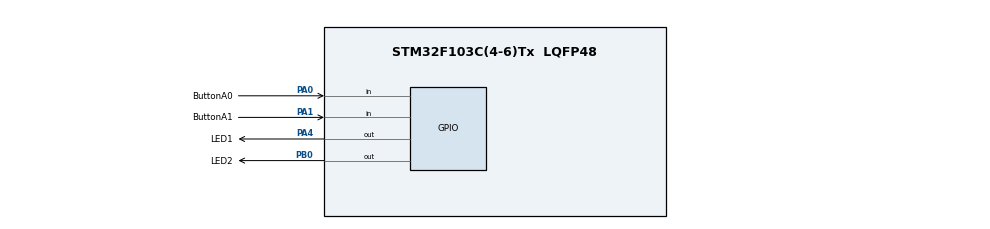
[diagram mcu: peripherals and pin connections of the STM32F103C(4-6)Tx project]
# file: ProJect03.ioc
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Mcu.Family=STM32F1
Mcu.Name=STM32F103C(4-6)Tx
Mcu.Package=LQFP48
NVIC.PriorityGroup=NVIC_PRIORITYGROUP_4
NVIC.TIM2_IRQn=true\:0\:0\:false\:false\:true\:true\:true\:true
PA0-WKUP.GPIO_Label=ButtonA0
PA0-WKUP.GPIO_PuPd=GPIO_PULLUP
PA0-WKUP.Signal=GPIO_Input
PA1.GPIO_Label=ButtonA1
PA1.Signal=GPIO_Input
PA4.GPIO_Label=LED1
PA4.Signal=GPIO_Output
PB0.GPIO_Label=LED2
PB0.Signal=GPIO_Output
ProjectManager.HeapSize=0x200
ProjectManager.StackSize=0x400
ProjectManager.TargetToolchain=STM32CubeIDE
RCC.APB1Freq_Value=8000000
RCC.APB2Freq_Value=8000000
TIM2.Period=9
TIM2.Prescaler=7999
VP_TIM2_VS_ClockSourceINT.Mode=Internal
board=custom

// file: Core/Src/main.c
/* USER CODE BEGIN Header */
/**
  ******************************************************************************
  * @file           : main.c
  * @brief          : Main program body
  ******************************************************************************
  * @attention
  *
  * Copyright (c) 2022 STMicroelectronics.
  * All rights reserved.
  *
  * This software is licensed under terms that can be found in the LICENSE file
  * in the root directory of this software component.
  * If no LICENSE file comes with this software, it is provided AS-IS.
  *
  ******************************************************************************
  */
/* USER CODE END Header */
#include "main.h"

TIM_HandleTypeDef htim2;

void SystemClock_Config(void);
static void MX_GPIO_Init(void);
static void MX_TIM2_Init(void);

/* USER CODE BEGIN 0 */
int timer0_counter = 0;
int timer0_flag = 0;
int TIMER_CYCLE = 10;

void setTimer0 ( int duration ) {
	timer0_counter = duration / TIMER_CYCLE ;
	timer0_flag = 0;
}

void timer_run () {
	if( timer0_counter > 0) {
		timer0_counter --;
		if( timer0_counter == 0) timer0_flag = 1;
	}
}
/* USER CODE END 0 */

int main(void)
{

  /* MCU Configuration--------------------------------------------------------*/

  /* Reset of all peripherals, Initializes the Flash interface and the Systick. */
  HAL_Init();

  /* Configure the system clock */
  SystemClock_Config();

  /* Initialize all configured peripherals */
  MX_GPIO_Init();
  MX_TIM2_Init();
  /* USER CODE BEGIN 2 */
  HAL_TIM_Base_Start_IT (& htim2 ) ;

  /* USER CODE END 2 */

  /* Infinite loop */
  /* USER CODE BEGIN WHILE */
  int state = 0;
  setTimer0(1000);
  while (1)
  {

	  if ( HAL_GPIO_ReadPin(ButtonA0_GPIO_Port, ButtonA0_Pin) == RESET){
		  	  if (state == 0){
		  		HAL_GPIO_WritePin(LED1_GPIO_Port, LED1_Pin, SET);
		  		HAL_GPIO_WritePin(LED2_GPIO_Port, LED2_Pin, RESET);
		  		state = 1-state;
		  	  }
		  	  else{
		  		HAL_GPIO_WritePin(LED1_GPIO_Port, LED1_Pin, RESET);
		  		HAL_GPIO_WritePin(LED2_GPIO_Port, LED2_Pin, RESET);
		  		state = 1-state;
		  	  }
	HAL_Delay(1000);
	  }
    /* USER CODE END WHILE */

  }
}

void SystemClock_Config(void)
{
  RCC_OscInitTypeDef RCC_OscInitStruct = {0};
  RCC_ClkInitTypeDef RCC_ClkInitStruct = {0};

  /** Initializes the RCC Oscillators according to the specified parameters
  * in the RCC_OscInitTypeDef structure.
  */
  RCC_OscInitStruct.OscillatorType = RCC_OSCILLATORTYPE_HSI;
  RCC_OscInitStruct.HSIState = RCC_HSI_ON;
  RCC_OscInitStruct.HSICalibrationValue = RCC_HSICALIBRATION_DEFAULT;
  RCC_OscInitStruct.PLL.PLLState = RCC_PLL_NONE;
  if (HAL_RCC_OscConfig(&RCC_OscInitStruct) != HAL_OK)
  {
    Error_Handler();
  }

  /** Initializes the CPU, AHB and APB buses clocks
  */
  RCC_ClkInitStruct.ClockType = RCC_CLOCKTYPE_HCLK|RCC_CLOCKTYPE_SYSCLK
                              |RCC_CLOCKTYPE_PCLK1|RCC_CLOCKTYPE_PCLK2;
  RCC_ClkInitStruct.SYSCLKSource = RCC_SYSCLKSOURCE_HSI;
  RCC_ClkInitStruct.AHBCLKDivider = RCC_SYSCLK_DIV1;
  RCC_ClkInitStruct.APB1CLKDivider = RCC_HCLK_DIV1;
  RCC_ClkInitStruct.APB2CLKDivider = RCC_HCLK_DIV1;

  if (HAL_RCC_ClockConfig(&RCC_ClkInitStruct, FLASH_LATENCY_0) != HAL_OK)
  {
    Error_Handler();
  }
}

static void MX_TIM2_Init(void)
{

  TIM_ClockConfigTypeDef sClockSourceConfig = {0};
  TIM_MasterConfigTypeDef sMasterConfig = {0};

  htim2.Instance = TIM2;
  htim2.Init.Prescaler = 7999;
  htim2.Init.CounterMode = TIM_COUNTERMODE_UP;
  htim2.Init.Period = 9;
  htim2.Init.ClockDivision = TIM_CLOCKDIVISION_DIV1;
  htim2.Init.AutoReloadPreload = TIM_AUTORELOAD_PRELOAD_DISABLE;
  if (HAL_TIM_Base_Init(&htim2) != HAL_OK)
  {
    Error_Handler();
  }
  sClockSourceConfig.ClockSource = TIM_CLOCKSOURCE_INTERNAL;
  if (HAL_TIM_ConfigClockSource(&htim2, &sClockSourceConfig) != HAL_OK)
  {
    Error_Handler();
  }
  sMasterConfig.MasterOutputTrigger = TIM_TRGO_RESET;
  sMasterConfig.MasterSlaveMode = TIM_MASTERSLAVEMODE_DISABLE;
  if (HAL_TIMEx_MasterConfigSynchronization(&htim2, &sMasterConfig) != HAL_OK)
  {
    Error_Handler();
  }

}

static void MX_GPIO_Init(void)
{
  GPIO_InitTypeDef GPIO_InitStruct = {0};

  /* GPIO Ports Clock Enable */
  __HAL_RCC_GPIOA_CLK_ENABLE();
  __HAL_RCC_GPIOB_CLK_ENABLE();

  /*Configure GPIO pin Output Level */
  HAL_GPIO_WritePin(LED1_GPIO_Port, LED1_Pin, GPIO_PIN_RESET);

  /*Configure GPIO pin Output Level */
  HAL_GPIO_WritePin(LED2_GPIO_Port, LED2_Pin, GPIO_PIN_RESET);

  /*Configure GPIO pin : ButtonA0_Pin */
  GPIO_InitStruct.Pin = ButtonA0_Pin;
  GPIO_InitStruct.Mode = GPIO_MODE_INPUT;
  GPIO_InitStruct.Pull = GPIO_PULLUP;
  HAL_GPIO_Init(ButtonA0_GPIO_Port, &GPIO_InitStruct);

  /*Configure GPIO pin : ButtonA1_Pin */
  GPIO_InitStruct.Pin = ButtonA1_Pin;
  GPIO_InitStruct.Mode = GPIO_MODE_INPUT;
  GPIO_InitStruct.Pull = GPIO_NOPULL;
  HAL_GPIO_Init(ButtonA1_GPIO_Port, &GPIO_InitStruct);

  /*Configure GPIO pin : LED1_Pin */
  GPIO_InitStruct.Pin = LED1_Pin;
  GPIO_InitStruct.Mode = GPIO_MODE_OUTPUT_PP;
  GPIO_InitStruct.Pull = GPIO_NOPULL;
  GPIO_InitStruct.Speed = GPIO_SPEED_FREQ_LOW;
  HAL_GPIO_Init(LED1_GPIO_Port, &GPIO_InitStruct);

  /*Configure GPIO pin : LED2_Pin */
  GPIO_InitStruct.Pin = LED2_Pin;
  GPIO_InitStruct.Mode = GPIO_MODE_OUTPUT_PP;
  GPIO_InitStruct.Pull = GPIO_NOPULL;
  GPIO_InitStruct.Speed = GPIO_SPEED_FREQ_LOW;
  HAL_GPIO_Init(LED2_GPIO_Port, &GPIO_InitStruct);

}

/* USER CODE BEGIN 4 */

void HAL_TIM_PeriodElapsedCallback ( TIM_HandleTypeDef * htim ){
		timer_run() ;
}

/* USER CODE END 4 */

void Error_Handler(void)
{
  __disable_irq();
  while (1)
  {
  }
}
